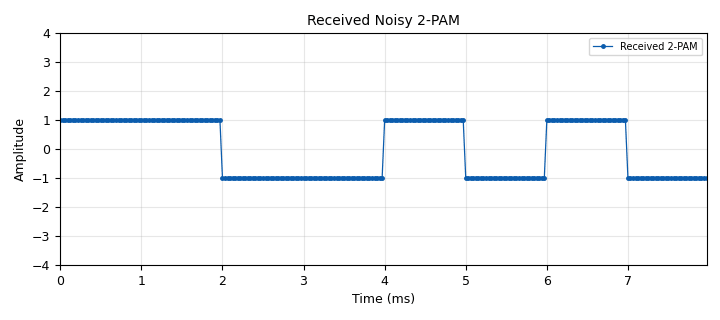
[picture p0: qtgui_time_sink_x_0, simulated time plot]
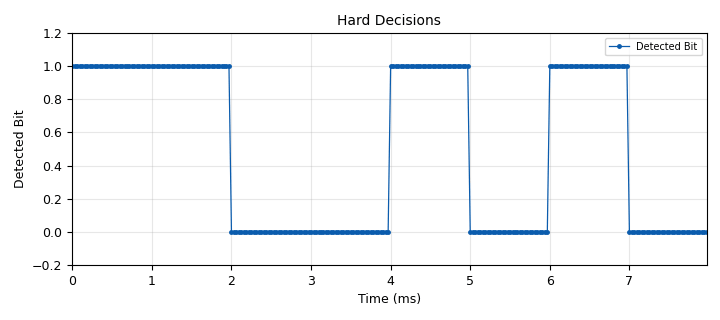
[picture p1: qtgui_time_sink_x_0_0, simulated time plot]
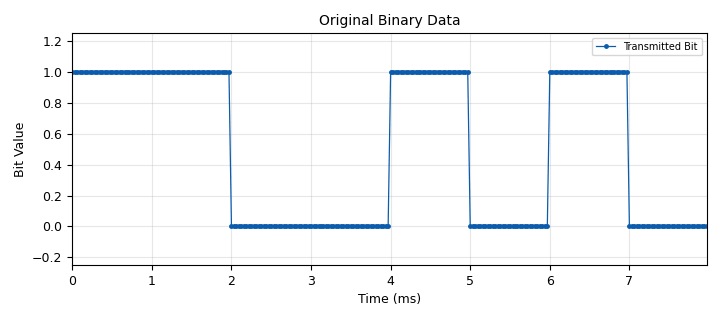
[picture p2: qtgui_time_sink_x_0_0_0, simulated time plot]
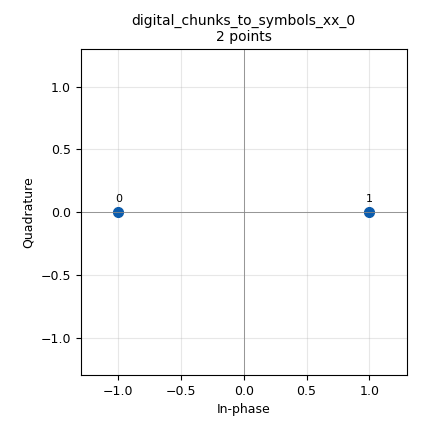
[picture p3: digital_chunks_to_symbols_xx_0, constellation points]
options:
  parameters:
    author: Dhrubjun
    generate_options: qt_gui
    id: exp4
    output_language: python
    title: 2-PAM in Noise
  states: {}

blocks:
- name: bit_rate
  id: variable
  parameters:
    value: '1000'
  states: {}
- name: bits_per_symbol
  id: variable
  parameters:
    value: '1'
  states: {}
- name: noise_amp
  id: variable_qtgui_range
  parameters:
    label: Noise Amplitude
    start: '0'
    step: '0.05'
    stop: '2'
    value: '0'
  states: {}
- name: samp_rate
  id: variable
  parameters:
    value: '32000'
  states: {}
- name: samples_per_symbol
  id: variable
  parameters:
    value: int(samp_rate / symbol_rate)
  states: {}
- name: symbol_rate
  id: variable
  parameters:
    value: bit_rate / bits_per_symbol
  states: {}
- name: analog_noise_source_x_0
  id: analog_noise_source_x
  parameters:
    amp: noise_amp
    noise_type: analog.GR_GAUSSIAN
    seed: '0'
    type: float
  states: {}
- name: blocks_add_xx_0
  id: blocks_add_xx
  parameters:
    type: float
  states: {}
- name: blocks_repeat_0
  id: blocks_repeat
  parameters:
    interp: samples_per_symbol
    type: float
  states: {}
- name: blocks_repeat_0_0
  id: blocks_repeat
  parameters:
    interp: samples_per_symbol
    type: float
  states: {}
- name: blocks_repeat_0_1
  id: blocks_repeat
  parameters:
    interp: samples_per_symbol
    type: float
  states: {}
- name: blocks_throttle2_0_0_0
  id: blocks_throttle2
  parameters:
    samples_per_second: samp_rate
    type: byte
  states: {}
- name: blocks_uchar_to_float_0_0
  id: blocks_uchar_to_float
  parameters: {}
  states: {}
- name: blocks_uchar_to_float_0_0_0
  id: blocks_uchar_to_float
  parameters: {}
  states: {}
- name: blocks_vector_source_x_0
  id: blocks_vector_source_x
  parameters:
    repeat: 'True'
    type: byte
    vector: (1, 0, 1, 1, 0, 0, 1, 0)
  states: {}
- name: digital_binary_slicer_fb_0
  id: digital_binary_slicer_fb
  parameters: {}
  states: {}
- name: digital_chunks_to_symbols_xx_0
  id: digital_chunks_to_symbols_xx
  parameters:
    dimension: '1'
    in_type: byte
    out_type: float
    symbol_table: '[-1, 1]'
  states: {}
- name: qtgui_time_sink_x_0
  id: qtgui_time_sink_x
  parameters:
    grid: 'True'
    gui_hint: (0,1,1,1)
    label1: Received 2-PAM
    marker1: '0'
    name: Received Noisy 2-PAM
    size: '256'
    srate: samp_rate
    style1: '2'
    type: float
    update_time: '0.1'
    ymax: '4'
    ymin: '-4'
  states: {}
- name: qtgui_time_sink_x_0_0
  id: qtgui_time_sink_x
  parameters:
    grid: 'True'
    gui_hint: (1,0,1,1)
    label1: Detected Bit
    marker1: '0'
    name: Hard Decisions
    size: '256'
    srate: samp_rate
    style1: '2'
    type: float
    update_time: '0.1'
    ylabel: Detected Bit
    ymax: '1.2'
    ymin: '-0.2'
  states: {}
- name: qtgui_time_sink_x_0_0_0
  id: qtgui_time_sink_x
  parameters:
    grid: 'True'
    gui_hint: (0,0,1,1)
    label1: Transmitted Bit
    marker1: '0'
    name: Original Binary Data
    size: '256'
    srate: samp_rate
    style1: '2'
    type: float
    update_time: '0.1'
    ylabel: Bit Value
    ymax: '1.25'
    ymin: '-0.25'
  states: {}

connections:
- [analog_noise_source_x_0, '0', blocks_add_xx_0, '1']
- [blocks_add_xx_0, '0', blocks_repeat_0_1, '0']
- [blocks_add_xx_0, '0', digital_binary_slicer_fb_0, '0']
- [blocks_repeat_0, '0', qtgui_time_sink_x_0_0, '0']
- [blocks_repeat_0_0, '0', qtgui_time_sink_x_0_0_0, '0']
- [blocks_repeat_0_1, '0', qtgui_time_sink_x_0, '0']
- [blocks_throttle2_0_0_0, '0', blocks_uchar_to_float_0_0_0, '0']
- [blocks_throttle2_0_0_0, '0', digital_chunks_to_symbols_xx_0, '0']
- [blocks_uchar_to_float_0_0, '0', blocks_repeat_0, '0']
- [blocks_uchar_to_float_0_0_0, '0', blocks_repeat_0_0, '0']
- [blocks_vector_source_x_0, '0', blocks_throttle2_0_0_0, '0']
- [digital_binary_slicer_fb_0, '0', blocks_uchar_to_float_0_0, '0']
- [digital_chunks_to_symbols_xx_0, '0', blocks_add_xx_0, '0']

metadata:
  file_format: 1
  grc_version: 3.10.12.0
